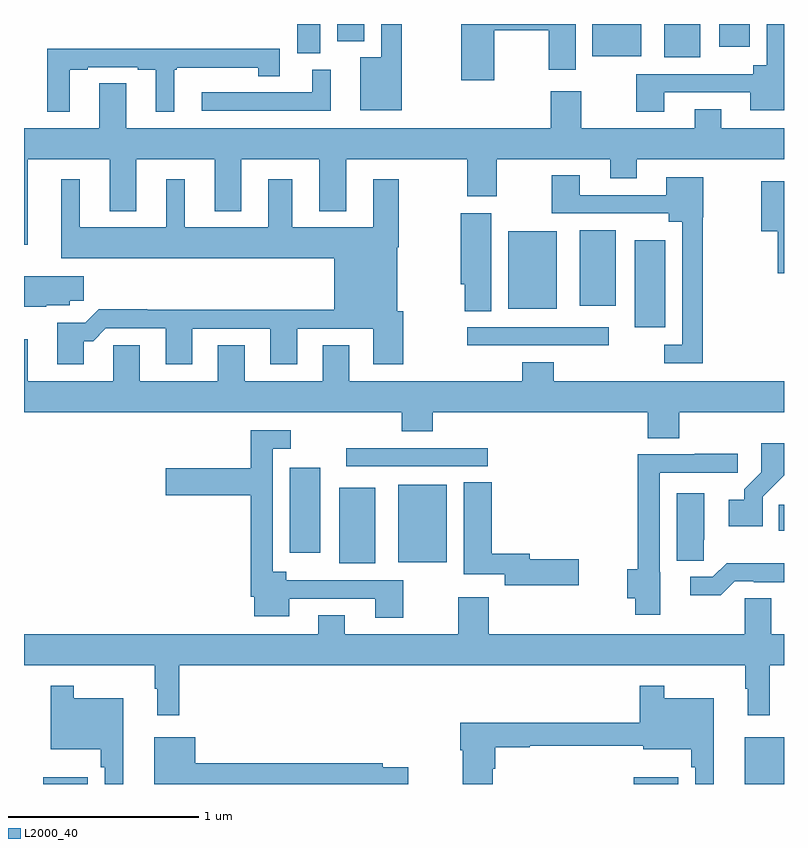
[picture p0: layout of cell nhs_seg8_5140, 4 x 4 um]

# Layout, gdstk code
import gdstk
lib = gdstk.Library(unit=1e-6, precision=1e-09)
def R(c, l, rs):  # rectangles x0, y0, x1, y1
    for r in rs: c.add(gdstk.rectangle(r[:2], r[2:], *l))
def P(c, l, *ps):  # polygons
    for p in ps: c.add(gdstk.Polygon(p, *l))
L2000_40 = (2000, 40)

nhs_seg8_5140 = lib.new_cell('nhs_seg8_5140')
R(nhs_seg8_5140, L2000_40, [(421.1,1091.9,421.336,1091.935), (424.208,1091.9,424.444,1091.935), (424.793,1091.9,425,1092.145), (422.66,1093.061,422.848,1093.459), (422.969,1093.067,423.226,1093.474), (422.399,1093.116,422.56,1093.564), (424.972,1093.232,425,1093.37), (422.697,1093.572,423.442,1093.668), (423.333,1094.208,424.078,1094.304), (424.214,1094.303,424.375,1094.761), (423.548,1094.402,423.805,1094.809), (423.926,1094.417,424.114,1094.815), (424.37,1095.725,424.558,1095.9), (423.992,1095.731,424.249,1095.9), (422.438,1095.745,422.56,1095.9), (424.658,1095.78,424.819,1095.9), (422.648,1095.809,422.791,1095.9)])
P(nhs_seg8_5140, L2000_40, [(424.369,1095.54),(424.823,1095.54),(424.823,1095.446),(425,1095.446),(425,1095.9),(424.908,1095.9),(424.908,1095.682),(424.838,1095.682),(424.838,1095.636),(424.222,1095.636),(424.222,1095.438),(424.369,1095.438)],
  [(422.989,1095.9),(422.88,1095.9),(422.88,1095.724),(422.771,1095.724),(422.771,1095.446),(422.989,1095.446)],
  [(423.474,1095.868),(423.763,1095.868),(423.763,1095.66),(423.904,1095.66),(423.904,1095.9),(423.301,1095.9),(423.301,1095.603),(423.474,1095.603)],
  [(421.24,1095.66),(421.336,1095.66),(421.336,1095.672),(421.598,1095.672),(421.598,1095.66),(421.694,1095.66),(421.694,1095.437),(421.792,1095.437),(421.792,1095.66),(421.804,1095.66),(421.804,1095.671),(422.234,1095.671),(422.234,1095.625),(422.347,1095.625),(422.347,1095.769),(421.123,1095.769),(421.123,1095.437),(421.24,1095.437)],
  [(422.614,1095.66),(422.516,1095.66),(422.516,1095.54),(421.935,1095.54),(421.935,1095.444),(422.614,1095.444)],
  [(421.021,1095.188),(421.451,1095.188),(421.451,1094.915),(421.591,1094.915),(421.591,1095.188),(422.003,1095.188),(422.003,1094.915),(422.143,1094.915),(422.143,1095.188),(422.555,1095.188),(422.555,1094.915),(422.695,1094.915),(422.695,1095.188),(423.334,1095.188),(423.334,1094.994),(423.489,1094.994),(423.489,1095.188),(424.085,1095.188),(424.085,1095.089),(424.225,1095.089),(424.225,1095.188),(425,1095.188),(425,1095.352),(424.669,1095.352),(424.669,1095.451),(424.529,1095.451),(424.529,1095.352),(423.933,1095.352),(423.933,1095.547),(423.773,1095.547),(423.773,1095.352),(421.537,1095.352),(421.537,1095.587),(421.397,1095.587),(421.397,1095.352),(421,1095.352),(421,1094.739),(421.021,1094.739)],
  [(424.573,1094.883),(424.576,1094.883),(424.576,1095.094),(424.379,1095.094),(424.379,1095),(423.925,1095),(423.925,1095.103),(423.778,1095.103),(423.778,1094.904),(424.394,1094.904),(424.394,1094.858),(424.464,1094.858),(424.464,1094.211),(424.371,1094.211),(424.371,1094.115),(424.573,1094.115)],
  [(421.315,1094.231),(421.364,1094.231),(421.431,1094.298),(421.745,1094.298),(421.745,1094.109),(421.885,1094.109),(421.885,1094.295),(422.297,1094.295),(422.297,1094.109),(422.437,1094.109),(422.437,1094.295),(422.837,1094.295),(422.837,1094.109),(422.997,1094.109),(422.997,1094.388),(422.965,1094.388),(422.965,1094.726),(422.973,1094.726),(422.973,1095.082),(422.837,1095.082),(422.837,1094.83),(422.413,1094.83),(422.413,1095.082),(422.285,1095.082),(422.285,1094.83),(421.846,1094.83),(421.846,1095.082),(421.748,1095.082),(421.748,1094.83),(421.294,1094.83),(421.294,1095.082),(421.196,1095.082),(421.196,1094.666),(422.633,1094.666),(422.633,1094.396),(421.649,1094.396),(421.649,1094.399),(421.394,1094.399),(421.323,1094.328),(421.175,1094.328),(421.175,1094.109),(421.315,1094.109)],
  [(425,1095.073),(424.88,1095.073),(424.88,1094.81),(424.966,1094.81),(424.966,1094.588),(425,1094.588)],
  [(423.46,1094.905),(423.298,1094.905),(423.298,1094.529),(423.319,1094.529),(423.319,1094.389),(423.46,1094.389)],
  [(421.116,1094.42),(421.242,1094.42),(421.242,1094.443),(421.315,1094.443),(421.315,1094.572),(421,1094.572),(421,1094.411),(421.116,1094.411)],
  [(424.448,1093.856),(425,1093.856),(425,1094.02),(423.788,1094.02),(423.788,1094.119),(423.623,1094.119),(423.623,1094.02),(422.713,1094.02),(422.713,1094.21),(422.573,1094.21),(422.573,1094.02),(422.161,1094.02),(422.161,1094.21),(422.021,1094.21),(422.021,1094.02),(421.609,1094.02),(421.609,1094.21),(421.47,1094.21),(421.47,1094.02),(421.021,1094.02),(421.021,1094.242),(421,1094.242),(421,1093.856),(422.987,1093.856),(422.987,1093.757),(423.152,1093.757),(423.152,1093.856),(424.283,1093.856),(424.283,1093.72),(424.448,1093.72)],
  [(422.997,1092.972),(422.38,1092.972),(422.38,1093.018),(422.31,1093.018),(422.31,1093.665),(422.404,1093.665),(422.404,1093.761),(422.194,1093.761),(422.194,1093.563),(421.746,1093.563),(421.746,1093.421),(422.194,1093.421),(422.194,1092.886),(422.213,1092.886),(422.213,1092.782),(422.395,1092.782),(422.395,1092.876),(422.849,1092.876),(422.849,1092.774),(422.997,1092.774)],
  [(424.887,1093.411),(425,1093.524),(425,1093.693),(424.881,1093.693),(424.881,1093.541),(424.79,1093.451),(424.79,1093.396),(424.71,1093.396),(424.71,1093.256),(424.887,1093.256)],
  [(424.348,1093.014),(424.347,1093.014),(424.347,1093.539),(424.756,1093.539),(424.756,1093.638),(424.531,1093.638),(424.531,1093.635),(424.231,1093.635),(424.231,1093.031),(424.175,1093.031),(424.175,1092.878),(424.218,1092.878),(424.218,1092.792),(424.348,1092.792)],
  [(423.919,1093.082),(423.661,1093.082),(423.661,1093.111),(423.461,1093.111),(423.461,1093.487),(423.314,1093.487),(423.314,1093.004),(423.53,1093.004),(423.53,1092.947),(423.919,1092.947)],
  [(424.578,1093.186),(424.579,1093.186),(424.579,1093.429),(424.436,1093.429),(424.436,1093.075),(424.578,1093.075)],
  [(424.74,1092.966),(424.84,1092.966),(424.84,1092.963),(425,1092.963),(425,1093.063),(424.699,1093.063),(424.626,1092.99),(424.506,1092.99),(424.506,1092.893),(424.667,1092.893)],
  [(421.817,1092.524),(424.797,1092.524),(424.797,1092.401),(424.808,1092.401),(424.808,1092.261),(424.925,1092.261),(424.925,1092.524),(425,1092.524),(425,1092.688),(424.933,1092.688),(424.933,1092.878),(424.794,1092.878),(424.794,1092.688),(423.446,1092.688),(423.446,1092.883),(423.286,1092.883),(423.286,1092.688),(422.689,1092.688),(422.689,1092.787),(422.549,1092.787),(422.549,1092.688),(421,1092.688),(421,1092.524),(421.689,1092.524),(421.689,1092.401),(421.7,1092.401),(421.7,1092.261),(421.817,1092.261)],
  [(421.522,1092.352),(421.261,1092.352),(421.261,1092.418),(421.14,1092.418),(421.14,1092.083),(421.405,1092.083),(421.405,1091.987),(421.425,1091.987),(421.425,1091.9),(421.522,1091.9)],
  [(423.466,1091.979),(423.479,1091.979),(423.479,1092.094),(423.662,1092.094),(423.662,1092.102),(424.259,1092.102),(424.259,1092.083),(424.513,1092.083),(424.513,1091.987),(424.533,1091.987),(424.533,1091.9),(424.63,1091.9),(424.63,1092.352),(424.369,1092.352),(424.369,1092.418),(424.24,1092.418),(424.24,1092.223),(423.296,1092.223),(423.296,1092.077),(423.308,1092.077),(423.308,1091.9),(423.466,1091.9)],
  [(423.022,1091.988),(422.888,1091.988),(422.888,1092.008),(421.9,1092.008),(421.9,1092.145),(421.685,1092.145),(421.685,1091.9),(423.022,1091.9)])

lib.write_gds('nhs_seg8_5140.gds')
